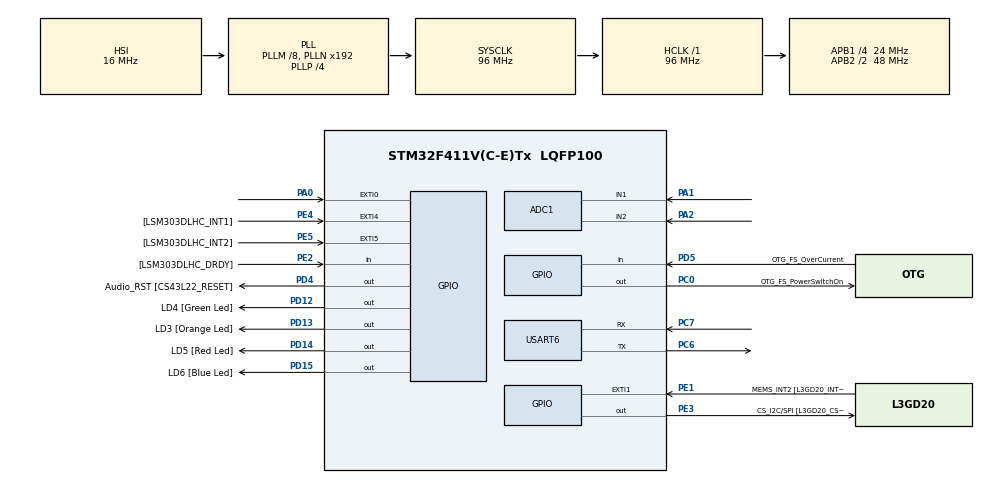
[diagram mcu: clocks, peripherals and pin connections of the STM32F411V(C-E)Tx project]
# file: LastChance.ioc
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ADC1.Channel-0\#ChannelRegularConversion=ADC_CHANNEL_1
ADC1.Channel-1\#ChannelRegularConversion=ADC_CHANNEL_2
ADC1.ContinuousConvMode=ENABLE
ADC1.DMAContinuousRequests=ENABLE
ADC1.NbrOfConversion=2
ADC1.NbrOfConversionFlag=1
ADC1.Rank-0\#ChannelRegularConversion=1
ADC1.Rank-1\#ChannelRegularConversion=2
ADC1.SamplingTime-0\#ChannelRegularConversion=ADC_SAMPLETIME_28CYCLES
ADC1.SamplingTime-1\#ChannelRegularConversion=ADC_SAMPLETIME_28CYCLES
ADC1.ScanConvMode=ENABLE
ADC1.master=1
Dma.ADC1.0.Channel=DMA_CHANNEL_0
Dma.ADC1.0.Direction=DMA_PERIPH_TO_MEMORY
Dma.ADC1.0.FIFOMode=DMA_FIFOMODE_DISABLE
Dma.ADC1.0.Instance=DMA2_Stream0
Dma.ADC1.0.MemDataAlignment=DMA_MDATAALIGN_WORD
Dma.ADC1.0.MemInc=DMA_MINC_ENABLE
Dma.ADC1.0.Mode=DMA_CIRCULAR
Dma.ADC1.0.PeriphDataAlignment=DMA_PDATAALIGN_WORD
Dma.ADC1.0.PeriphInc=DMA_PINC_DISABLE
Dma.ADC1.0.Priority=DMA_PRIORITY_HIGH
Dma.Request0=ADC1
Mcu.Family=STM32F4
Mcu.Name=STM32F411V(C-E)Tx
Mcu.Package=LQFP100
NVIC.DMA2_Stream0_IRQn=true\:0\:0\:false
NVIC.PriorityGroup=NVIC_PRIORITYGROUP_0
PA0-WKUP.GPIO_ModeDefaultEXTI=GPIO_MODE_EVT_RISING
PA0-WKUP.Signal=GPXTI0
PA1.Signal=ADCx_IN1
PA10.GPIO_Label=OTG_FS_ID
PA10.Signal=USB_OTG_FS_ID
PA11.GPIO_Label=OTG_FS_DM
PA11.Signal=USB_OTG_FS_DM
PA12.GPIO_Label=OTG_FS_DP
PA12.Signal=USB_OTG_FS_DP
PA13.GPIO_Label=SWDIO
PA13.Signal=SYS_JTMS-SWDIO
PA14.GPIO_Label=SWCLK
PA14.Signal=SYS_JTCK-SWCLK
PA2.Signal=ADCx_IN2
PA4.GPIO_Label=I2S3_WS [CS43L22_LRCK]
PA4.GPIO_Mode=GPIO_MODE_AF_PP
PA4.GPIO_PuPd=GPIO_NOPULL
PA4.GPIO_Speed=GPIO_SPEED_LOW
PA4.Signal=I2S3_WS
PA5.GPIO_Label=SPI1_SCK [L3GD20_SC/SPC]
PA5.Signal=SPI1_SCK
PA6.GPIO_Label=SPI1_MISO [L3GD20_AS0/SDO]
PA6.Signal=SPI1_MISO
PA7.GPIO_Label=SPI1_MOSI [L3GD20_SDA/SDI/SDO]
PA7.Signal=SPI1_MOSI
PA9.GPIO_Label=VBUS_FS
PA9.Signal=USB_OTG_FS_VBUS
PB10.GPIO_Label=CLK_IN [MP45DT02_CLK]
PB10.Signal=I2S2_CK
PB12.Signal=I2S2_WS
PB3.GPIO_Label=SWO
PB3.Signal=SYS_JTDO-SWO
PB6.GPIO_Label=Audio_SCL [CS43L22_SCL]
PB6.GPIO_Mode=GPIO_MODE_AF_OD
PB6.GPIO_PuPd=GPIO_NOPULL
PB6.GPIO_Speed=GPIO_SPEED_LOW
PB6.Signal=I2C1_SCL
PB9.GPIO_Label=Audio_SDA [CS43L22_SDA]
PB9.GPIO_Mode=GPIO_MODE_AF_OD
PB9.GPIO_PuPd=GPIO_NOPULL
PB9.GPIO_Speed=GPIO_SPEED_LOW
PB9.Signal=I2C1_SDA
PC0.GPIO_Label=OTG_FS_PowerSwitchOn
PC0.Signal=GPIO_Output
PC10.GPIO_Label=I2S3_SCK [CS43L22_SCLK]
PC10.GPIO_Mode=GPIO_MODE_AF_PP
PC10.GPIO_PuPd=GPIO_NOPULL
PC10.GPIO_Speed=GPIO_SPEED_LOW
PC10.Signal=I2S3_CK
PC12.GPIO_Label=I2S3_SD [CS43L22_SDIN]
PC12.GPIO_Mode=GPIO_MODE_AF_PP
PC12.GPIO_PuPd=GPIO_NOPULL
PC12.GPIO_Speed=GPIO_SPEED_LOW
PC12.Signal=I2S3_SD
PC14-OSC32_IN.GPIO_Label=PC14-OSC32_IN
PC14-OSC32_IN.Signal=RCC_OSC32_IN
PC15-OSC32_OUT.GPIO_Label=PC15-OSC32_OUT
PC15-OSC32_OUT.Signal=RCC_OSC32_OUT
PC3.GPIO_Label=PDM_OUT [MP45DT02_DOUT]
PC3.Signal=I2S2_SD
PC6.Mode=Asynchronous
PC6.Signal=USART6_TX
PC7.Mode=Asynchronous
PC7.Signal=USART6_RX
PD12.GPIO_Label=LD4 [Green Led]
PD12.GPIO_PuPd=GPIO_NOPULL
PD12.GPIO_Speed=GPIO_SPEED_LOW
PD12.Signal=GPIO_Output
PD13.GPIO_Label=LD3 [Orange Led]
PD13.GPIO_PuPd=GPIO_NOPULL
PD13.GPIO_Speed=GPIO_SPEED_LOW
PD13.Signal=GPIO_Output
PD14.GPIO_Label=LD5 [Red Led]
PD14.GPIO_PuPd=GPIO_NOPULL
PD14.GPIO_Speed=GPIO_SPEED_LOW
PD14.Signal=GPIO_Output
PD15.GPIO_Label=LD6 [Blue Led]
PD15.GPIO_PuPd=GPIO_NOPULL
PD15.GPIO_Speed=GPIO_SPEED_LOW
PD15.Signal=GPIO_Output
PD4.GPIO_Label=Audio_RST [CS43L22_RESET]
PD4.Signal=GPIO_Output
PD5.GPIO_Label=OTG_FS_OverCurrent
PD5.Signal=GPIO_Input
PE1.GPIO_Label=MEMS_INT2 [L3GD20_INT2]
PE1.GPIO_ModeDefaultEXTI=GPIO_MODE_EVT_RISING
PE1.Signal=GPXTI1
PE2.GPIO_Label=[LSM303DLHC_DRDY]
PE2.Signal=GPIO_Input
PE3.GPIO_Label=CS_I2C/SPI [L3GD20_CS_I2C/SPI]
PE3.Signal=GPIO_Output
PE4.GPIO_Label=[LSM303DLHC_INT1]
PE4.GPIO_ModeDefaultEXTI=GPIO_MODE_EVT_RISING
PE4.Signal=GPXTI4
PE5.GPIO_Label=[LSM303DLHC_INT2]
PE5.GPIO_ModeDefaultEXTI=GPIO_MODE_EVT_RISING
PE5.Signal=GPXTI5
PH0\ -\ OSC_IN.GPIO_Label=PH0-OSC_IN
PH0\ -\ OSC_IN.Signal=RCC_OSC_IN
PH1\ -\ OSC_OUT.GPIO_Label=PH1-OSC_OUT
PH1\ -\ OSC_OUT.Signal=RCC_OSC_OUT
ProjectManager.HeapSize=0x400
ProjectManager.StackSize=0x200
ProjectManager.TargetToolchain=TrueSTUDIO
RCC.48MHZClocksFreq_Value=48000000
RCC.AHBFreq_Value=96000000
RCC.APB1CLKDivider=RCC_HCLK_DIV4
RCC.APB1Freq_Value=24000000
RCC.APB1TimFreq_Value=48000000
RCC.APB2CLKDivider=RCC_HCLK_DIV2
RCC.APB2Freq_Value=48000000
RCC.APB2TimFreq_Value=96000000
RCC.CortexFreq_Value=96000000
RCC.HCLKFreq_Value=96000000
RCC.HSE_VALUE=8000000
RCC.HSI_VALUE=16000000
RCC.LSE_VALUE=32768
RCC.PLLI2SM=5
RCC.PLLI2SN=200
RCC.PLLM=8
RCC.PLLP=RCC_PLLP_DIV4
RCC.PLLQ=8
RCC.SYSCLKFreq_VALUE=96000000
RCC.SYSCLKSource=RCC_SYSCLKSOURCE_PLLCLK
RCC.VCOOutputFreq_Value=384000000
SH.ADCx_IN1.0=ADC1_IN1,IN1
SH.ADCx_IN2.0=ADC1_IN2,IN2
board=STM32F411E-DISCO

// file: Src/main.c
/**
  ******************************************************************************
  * File Name          : main.c
  * Description        : Main program body
  ******************************************************************************
  *
  * COPYRIGHT(c) 2016 STMicroelectronics
  *
  * Redistribution and use in source and binary forms, with or without modification,
  * are permitted provided that the following conditions are met:
  *   1. Redistributions of source code must retain the above copyright notice,
  *      this list of conditions and the following disclaimer.
  *   2. Redistributions in binary form must reproduce the above copyright notice,
  *      this list of conditions and the following disclaimer in the documentation
  *      and/or other materials provided with the distribution.
  *   3. Neither the name of STMicroelectronics nor the names of its contributors
  *      may be used to endorse or promote products derived from this software
  *      without specific prior written permission.
  *
  * THIS SOFTWARE IS PROVIDED BY THE COPYRIGHT HOLDERS AND CONTRIBUTORS "AS IS"
  * AND ANY EXPRESS OR IMPLIED WARRANTIES, INCLUDING, BUT NOT LIMITED TO, THE
  * IMPLIED WARRANTIES OF MERCHANTABILITY AND FITNESS FOR A PARTICULAR PURPOSE ARE
  * DISCLAIMED. IN NO EVENT SHALL THE COPYRIGHT HOLDER OR CONTRIBUTORS BE LIABLE
  * FOR ANY DIRECT, INDIRECT, INCIDENTAL, SPECIAL, EXEMPLARY, OR CONSEQUENTIAL
  * DAMAGES (INCLUDING, BUT NOT LIMITED TO, PROCUREMENT OF SUBSTITUTE GOODS OR
  * SERVICES; LOSS OF USE, DATA, OR PROFITS; OR BUSINESS INTERRUPTION) HOWEVER
  * CAUSED AND ON ANY THEORY OF LIABILITY, WHETHER IN CONTRACT, STRICT LIABILITY,
  * OR TORT (INCLUDING NEGLIGENCE OR OTHERWISE) ARISING IN ANY WAY OUT OF THE USE
  * OF THIS SOFTWARE, EVEN IF ADVISED OF THE POSSIBILITY OF SUCH DAMAGE.
  *
  ******************************************************************************
  */
#include "stm32f4xx_hal.h"

/* USER CODE BEGIN Includes */
#include <string.h>
#include <stdio.h>
/* USER CODE END Includes */

ADC_HandleTypeDef hadc1;
DMA_HandleTypeDef hdma_adc1;

UART_HandleTypeDef huart6;

/* USER CODE BEGIN PV */
/* Private variables ---------------------------------------------------------*/
#define ADC_BUFFER_LENGTH 200
uint32_t ADCBuffer1[ADC_BUFFER_LENGTH]={0};
/* USER CODE END PV */

void SystemClock_Config(void);
static void MX_GPIO_Init(void);
static void MX_DMA_Init(void);
static void MX_ADC1_Init(void);
static void MX_USART6_UART_Init(void);

/* USER CODE BEGIN PFP */
/* Private function prototypes -----------------------------------------------*/

/* USER CODE END PFP */

/* USER CODE BEGIN 0 */
void Uart_transmit(uint32_t dma_buffer[])
{
	int i = 0;
	int count = 2;
	char buffer[50] = {"Empty.."};
	uint32_t twaalfbit = 4095;
	//int acht = 8;
	for(i=0; i<ADC_BUFFER_LENGTH;i++)
	{
		  if(i%2 ==0)
		  {

			  dma_buffer[i] &= twaalfbit;
			  //dma_buffer[i] = dma_buffer[i] >> acht;
			  sprintf(buffer,"pin a1: %05d   ",(int) dma_buffer[i]);
			  HAL_UART_Transmit(&huart6,(uint8_t*) buffer,strlen(buffer),HAL_MAX_DELAY);
			  count++;
		  }
		  else
		  {
			  dma_buffer[i] &= twaalfbit;
			  sprintf(buffer,"pin a2: %05d   ",(int) dma_buffer[i]);
			  HAL_UART_Transmit(&huart6,(uint8_t*) buffer,strlen(buffer),HAL_MAX_DELAY);
			  count++;
		  }
		  HAL_UART_Transmit(&huart6,(uint8_t*)"\r\n",strlen("\r\n"),HAL_MAX_DELAY);
	}
	HAL_UART_Transmit(&huart6,(uint8_t*)"\r\n",strlen("\r\n"),HAL_MAX_DELAY);
}

/* USER CODE END 0 */

int main(void)
{

  /* MCU Configuration----------------------------------------------------------*/

  /* Reset of all peripherals, Initializes the Flash interface and the Systick. */
  HAL_Init();

  /* Configure the system clock */
  SystemClock_Config();

  /* Initialize all configured peripherals */
  MX_GPIO_Init();
  MX_DMA_Init();
  MX_ADC1_Init();
  MX_USART6_UART_Init();

  /* USER CODE BEGIN 2 */
int printCount = 1;
char tempbuffer[50]= {""};
  /* USER CODE END 2 */

  /* Infinite loop */
  while (1)
  {

  /* USER CODE BEGIN 3 */
	  HAL_ADC_Start(&hadc1);
	  HAL_ADC_Start_DMA(&hadc1, (uint32_t*)&ADCBuffer1[0], ADC_BUFFER_LENGTH);
	  if(HAL_GPIO_ReadPin(GPIOA,GPIO_PIN_0))
	  {
	   HAL_Delay(500);
	   HAL_GPIO_WritePin(GPIOD,LD3_Pin,GPIO_PIN_SET);//GREEN
	   sprintf(tempbuffer,"printcount: %d   ",printCount);
	   HAL_UART_Transmit(&huart6,(uint8_t*) tempbuffer,strlen(tempbuffer),HAL_MAX_DELAY);
	   printCount++;
	   //met DMA Continious Scan
	   Uart_transmit(ADCBuffer1);
	  }
  }
  /* USER CODE END 3 */

}

/** System Clock Configuration
*/
void SystemClock_Config(void)
{

  RCC_OscInitTypeDef RCC_OscInitStruct;
  RCC_ClkInitTypeDef RCC_ClkInitStruct;

  __PWR_CLK_ENABLE();

  __HAL_PWR_VOLTAGESCALING_CONFIG(PWR_REGULATOR_VOLTAGE_SCALE1);

  RCC_OscInitStruct.OscillatorType = RCC_OSCILLATORTYPE_HSI;
  RCC_OscInitStruct.HSIState = RCC_HSI_ON;
  RCC_OscInitStruct.HSICalibrationValue = 16;
  RCC_OscInitStruct.PLL.PLLState = RCC_PLL_ON;
  RCC_OscInitStruct.PLL.PLLSource = RCC_PLLSOURCE_HSI;
  RCC_OscInitStruct.PLL.PLLM = 8;
  RCC_OscInitStruct.PLL.PLLN = 192;
  RCC_OscInitStruct.PLL.PLLP = RCC_PLLP_DIV4;
  RCC_OscInitStruct.PLL.PLLQ = 8;
  HAL_RCC_OscConfig(&RCC_OscInitStruct);

  RCC_ClkInitStruct.ClockType = RCC_CLOCKTYPE_HCLK|RCC_CLOCKTYPE_SYSCLK
                              |RCC_CLOCKTYPE_PCLK1|RCC_CLOCKTYPE_PCLK2;
  RCC_ClkInitStruct.SYSCLKSource = RCC_SYSCLKSOURCE_PLLCLK;
  RCC_ClkInitStruct.AHBCLKDivider = RCC_SYSCLK_DIV1;
  RCC_ClkInitStruct.APB1CLKDivider = RCC_HCLK_DIV4;
  RCC_ClkInitStruct.APB2CLKDivider = RCC_HCLK_DIV2;
  HAL_RCC_ClockConfig(&RCC_ClkInitStruct, FLASH_LATENCY_3);

  HAL_SYSTICK_Config(HAL_RCC_GetHCLKFreq()/1000);

  HAL_SYSTICK_CLKSourceConfig(SYSTICK_CLKSOURCE_HCLK);

  /* SysTick_IRQn interrupt configuration */
  HAL_NVIC_SetPriority(SysTick_IRQn, 0, 0);
}

/* ADC1 init function */
void MX_ADC1_Init(void)
{

  ADC_ChannelConfTypeDef sConfig;

    /**Configure the global features of the ADC (Clock, Resolution, Data Alignment and number of conversion)
    */
  hadc1.Instance = ADC1;
  hadc1.Init.ClockPrescaler = ADC_CLOCKPRESCALER_PCLK_DIV2;
  hadc1.Init.Resolution = ADC_RESOLUTION12b;
  hadc1.Init.ScanConvMode = ENABLE;
  hadc1.Init.ContinuousConvMode = ENABLE;
  hadc1.Init.DiscontinuousConvMode = DISABLE;
  hadc1.Init.ExternalTrigConvEdge = ADC_EXTERNALTRIGCONVEDGE_NONE;
  hadc1.Init.DataAlign = ADC_DATAALIGN_RIGHT;
  hadc1.Init.NbrOfConversion = 2;
  hadc1.Init.DMAContinuousRequests = ENABLE;
  hadc1.Init.EOCSelection = EOC_SINGLE_CONV;
  HAL_ADC_Init(&hadc1);

    /**Configure for the selected ADC regular channel its corresponding rank in the sequencer and its sample time.
    */
  sConfig.Channel = ADC_CHANNEL_1;
  sConfig.Rank = 1;
  sConfig.SamplingTime = ADC_SAMPLETIME_28CYCLES;
  HAL_ADC_ConfigChannel(&hadc1, &sConfig);

    /**Configure for the selected ADC regular channel its corresponding rank in the sequencer and its sample time.
    */
  sConfig.Channel = ADC_CHANNEL_2;
  sConfig.Rank = 2;
  HAL_ADC_ConfigChannel(&hadc1, &sConfig);

}

/* USART6 init function */
void MX_USART6_UART_Init(void)
{

  huart6.Instance = USART6;
  huart6.Init.BaudRate = 115200;
  huart6.Init.WordLength = UART_WORDLENGTH_8B;
  huart6.Init.StopBits = UART_STOPBITS_1;
  huart6.Init.Parity = UART_PARITY_NONE;
  huart6.Init.Mode = UART_MODE_TX_RX;
  huart6.Init.HwFlowCtl = UART_HWCONTROL_NONE;
  huart6.Init.OverSampling = UART_OVERSAMPLING_16;
  HAL_UART_Init(&huart6);

}

void MX_DMA_Init(void)
{
  /* DMA controller clock enable */
  __DMA2_CLK_ENABLE();

  /* DMA interrupt init */
  HAL_NVIC_SetPriority(DMA2_Stream0_IRQn, 0, 0);
  HAL_NVIC_EnableIRQ(DMA2_Stream0_IRQn);

}

/** Configure pins as
        * Analog
        * Input
        * Output
        * EVENT_OUT
        * EXTI
     PC3   ------> I2S2_SD
     PA4   ------> I2S3_WS
     PA5   ------> SPI1_SCK
     PA6   ------> SPI1_MISO
     PA7   ------> SPI1_MOSI
     PB10   ------> I2S2_CK
     PB12   ------> I2S2_WS
     PA9   ------> USB_OTG_FS_VBUS
     PA10   ------> USB_OTG_FS_ID
     PA11   ------> USB_OTG_FS_DM
     PA12   ------> USB_OTG_FS_DP
     PC10   ------> I2S3_CK
     PC12   ------> I2S3_SD
     PB6   ------> I2C1_SCL
     PB9   ------> I2C1_SDA
*/
void MX_GPIO_Init(void)
{

  GPIO_InitTypeDef GPIO_InitStruct;

  /* GPIO Ports Clock Enable */
  __GPIOE_CLK_ENABLE();
  __GPIOC_CLK_ENABLE();
  __GPIOH_CLK_ENABLE();
  __GPIOA_CLK_ENABLE();
  __GPIOB_CLK_ENABLE();
  __GPIOD_CLK_ENABLE();

  /*Configure GPIO pin : PE2 */
  GPIO_InitStruct.Pin = GPIO_PIN_2;
  GPIO_InitStruct.Mode = GPIO_MODE_INPUT;
  GPIO_InitStruct.Pull = GPIO_NOPULL;
  HAL_GPIO_Init(GPIOE, &GPIO_InitStruct);

  /*Configure GPIO pin : CS_I2C_SPI_Pin */
  GPIO_InitStruct.Pin = CS_I2C_SPI_Pin;
  GPIO_InitStruct.Mode = GPIO_MODE_OUTPUT_PP;
  GPIO_InitStruct.Pull = GPIO_NOPULL;
  GPIO_InitStruct.Speed = GPIO_SPEED_LOW;
  HAL_GPIO_Init(CS_I2C_SPI_GPIO_Port, &GPIO_InitStruct);

  /*Configure GPIO pins : PE4 PE5 MEMS_INT2_Pin */
  GPIO_InitStruct.Pin = GPIO_PIN_4|GPIO_PIN_5|MEMS_INT2_Pin;
  GPIO_InitStruct.Mode = GPIO_MODE_EVT_RISING;
  GPIO_InitStruct.Pull = GPIO_NOPULL;
  HAL_GPIO_Init(GPIOE, &GPIO_InitStruct);

  /*Configure GPIO pin : OTG_FS_PowerSwitchOn_Pin */
  GPIO_InitStruct.Pin = OTG_FS_PowerSwitchOn_Pin;
  GPIO_InitStruct.Mode = GPIO_MODE_OUTPUT_PP;
  GPIO_InitStruct.Pull = GPIO_NOPULL;
  GPIO_InitStruct.Speed = GPIO_SPEED_LOW;
  HAL_GPIO_Init(OTG_FS_PowerSwitchOn_GPIO_Port, &GPIO_InitStruct);

  /*Configure GPIO pin : PDM_OUT_Pin */
  GPIO_InitStruct.Pin = PDM_OUT_Pin;
  GPIO_InitStruct.Mode = GPIO_MODE_AF_PP;
  GPIO_InitStruct.Pull = GPIO_NOPULL;
  GPIO_InitStruct.Speed = GPIO_SPEED_LOW;
  GPIO_InitStruct.Alternate = GPIO_AF5_SPI2;
  HAL_GPIO_Init(PDM_OUT_GPIO_Port, &GPIO_InitStruct);

  /*Configure GPIO pin : PA0 */
  GPIO_InitStruct.Pin = GPIO_PIN_0;
  GPIO_InitStruct.Mode = GPIO_MODE_EVT_RISING;
  GPIO_InitStruct.Pull = GPIO_NOPULL;
  HAL_GPIO_Init(GPIOA, &GPIO_InitStruct);

  /*Configure GPIO pin : PA4 */
  GPIO_InitStruct.Pin = GPIO_PIN_4;
  GPIO_InitStruct.Mode = GPIO_MODE_AF_PP;
  GPIO_InitStruct.Pull = GPIO_NOPULL;
  GPIO_InitStruct.Speed = GPIO_SPEED_LOW;
  GPIO_InitStruct.Alternate = GPIO_AF6_SPI3;
  HAL_GPIO_Init(GPIOA, &GPIO_InitStruct);

  /*Configure GPIO pins : PA5 PA6 PA7 */
  GPIO_InitStruct.Pin = GPIO_PIN_5|GPIO_PIN_6|GPIO_PIN_7;
  GPIO_InitStruct.Mode = GPIO_MODE_AF_PP;
  GPIO_InitStruct.Pull = GPIO_NOPULL;
  GPIO_InitStruct.Speed = GPIO_SPEED_HIGH;
  GPIO_InitStruct.Alternate = GPIO_AF5_SPI1;
  HAL_GPIO_Init(GPIOA, &GPIO_InitStruct);

  /*Configure GPIO pins : CLK_IN_Pin PB12 */
  GPIO_InitStruct.Pin = CLK_IN_Pin|GPIO_PIN_12;
  GPIO_InitStruct.Mode = GPIO_MODE_AF_PP;
  GPIO_InitStruct.Pull = GPIO_NOPULL;
  GPIO_InitStruct.Speed = GPIO_SPEED_LOW;
  GPIO_InitStruct.Alternate = GPIO_AF5_SPI2;
  HAL_GPIO_Init(GPIOB, &GPIO_InitStruct);

  /*Configure GPIO pins : LD4_Pin LD3_Pin LD5_Pin LD6_Pin
                           Audio_RST_Pin */
  GPIO_InitStruct.Pin = LD4_Pin|LD3_Pin|LD5_Pin|LD6_Pin
                          |Audio_RST_Pin;
  GPIO_InitStruct.Mode = GPIO_MODE_OUTPUT_PP;
  GPIO_InitStruct.Pull = GPIO_NOPULL;
  GPIO_InitStruct.Speed = GPIO_SPEED_LOW;
  HAL_GPIO_Init(GPIOD, &GPIO_InitStruct);

  /*Configure GPIO pin : VBUS_FS_Pin */
  GPIO_InitStruct.Pin = VBUS_FS_Pin;
  GPIO_InitStruct.Mode = GPIO_MODE_INPUT;
  GPIO_InitStruct.Pull = GPIO_NOPULL;
  HAL_GPIO_Init(VBUS_FS_GPIO_Port, &GPIO_InitStruct);

  /*Configure GPIO pins : OTG_FS_ID_Pin OTG_FS_DM_Pin OTG_FS_DP_Pin */
  GPIO_InitStruct.Pin = OTG_FS_ID_Pin|OTG_FS_DM_Pin|OTG_FS_DP_Pin;
  GPIO_InitStruct.Mode = GPIO_MODE_AF_PP;
  GPIO_InitStruct.Pull = GPIO_NOPULL;
  GPIO_InitStruct.Speed = GPIO_SPEED_HIGH;
  GPIO_InitStruct.Alternate = GPIO_AF10_OTG_FS;
  HAL_GPIO_Init(GPIOA, &GPIO_InitStruct);

  /*Configure GPIO pins : I2S3_SCK_Pin PC12 */
  GPIO_InitStruct.Pin = I2S3_SCK_Pin|GPIO_PIN_12;
  GPIO_InitStruct.Mode = GPIO_MODE_AF_PP;
  GPIO_InitStruct.Pull = GPIO_NOPULL;
  GPIO_InitStruct.Speed = GPIO_SPEED_LOW;
  GPIO_InitStruct.Alternate = GPIO_AF6_SPI3;
  HAL_GPIO_Init(GPIOC, &GPIO_InitStruct);

  /*Configure GPIO pin : OTG_FS_OverCurrent_Pin */
  GPIO_InitStruct.Pin = OTG_FS_OverCurrent_Pin;
  GPIO_InitStruct.Mode = GPIO_MODE_INPUT;
  GPIO_InitStruct.Pull = GPIO_NOPULL;
  HAL_GPIO_Init(OTG_FS_OverCurrent_GPIO_Port, &GPIO_InitStruct);

  /*Configure GPIO pins : Audio_SCL_Pin Audio_SDA_Pin */
  GPIO_InitStruct.Pin = Audio_SCL_Pin|Audio_SDA_Pin;
  GPIO_InitStruct.Mode = GPIO_MODE_AF_OD;
  GPIO_InitStruct.Pull = GPIO_PULLUP;
  GPIO_InitStruct.Speed = GPIO_SPEED_LOW;
  GPIO_InitStruct.Alternate = GPIO_AF4_I2C1;
  HAL_GPIO_Init(GPIOB, &GPIO_InitStruct);

  /*Configure GPIO pin Output Level */
  HAL_GPIO_WritePin(CS_I2C_SPI_GPIO_Port, CS_I2C_SPI_Pin, GPIO_PIN_RESET);

  /*Configure GPIO pin Output Level */
  HAL_GPIO_WritePin(OTG_FS_PowerSwitchOn_GPIO_Port, OTG_FS_PowerSwitchOn_Pin, GPIO_PIN_RESET);

  /*Configure GPIO pin Output Level */
  HAL_GPIO_WritePin(GPIOD, LD4_Pin|LD3_Pin|LD5_Pin|LD6_Pin
                          |Audio_RST_Pin, GPIO_PIN_RESET);

}

/************************ (C) COPYRIGHT STMicroelectronics *****END OF FILE****/
